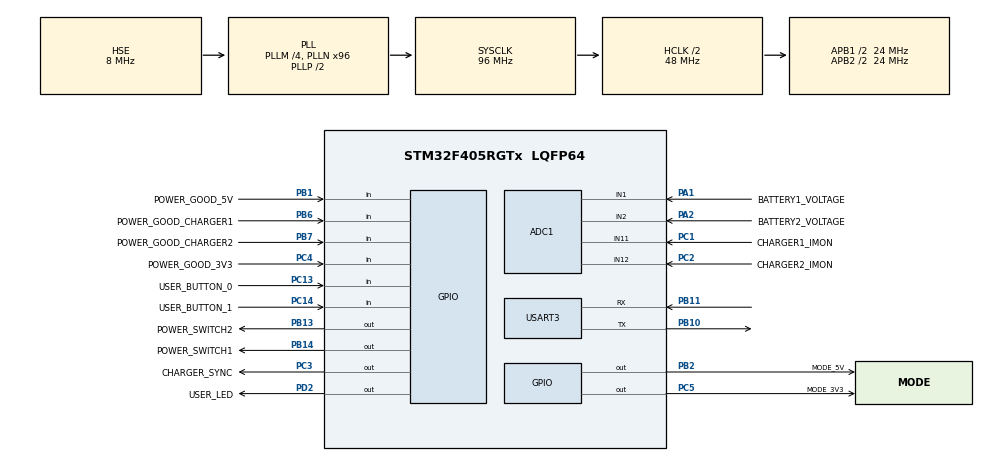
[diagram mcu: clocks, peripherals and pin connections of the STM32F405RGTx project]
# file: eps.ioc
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ADC1.Channel-0\#ChannelRegularConversion=ADC_CHANNEL_1
ADC1.Channel-1\#ChannelRegularConversion=ADC_CHANNEL_2
ADC1.Channel-2\#ChannelRegularConversion=ADC_CHANNEL_11
ADC1.Channel-3\#ChannelRegularConversion=ADC_CHANNEL_12
ADC1.ContinuousConvMode=ENABLE
ADC1.DMAContinuousRequests=ENABLE
ADC1.NbrOfConversion=4
ADC1.NbrOfConversionFlag=1
ADC1.Rank-0\#ChannelRegularConversion=1
ADC1.Rank-1\#ChannelRegularConversion=2
ADC1.Rank-2\#ChannelRegularConversion=3
ADC1.Rank-3\#ChannelRegularConversion=4
ADC1.SamplingTime-0\#ChannelRegularConversion=ADC_SAMPLETIME_480CYCLES
ADC1.SamplingTime-1\#ChannelRegularConversion=ADC_SAMPLETIME_480CYCLES
ADC1.SamplingTime-2\#ChannelRegularConversion=ADC_SAMPLETIME_480CYCLES
ADC1.SamplingTime-3\#ChannelRegularConversion=ADC_SAMPLETIME_480CYCLES
ADC1.ScanConvMode=ENABLE
ADC1.master=1
Dma.ADC1.0.Direction=DMA_PERIPH_TO_MEMORY
Dma.ADC1.0.FIFOMode=DMA_FIFOMODE_DISABLE
Dma.ADC1.0.Instance=DMA2_Stream0
Dma.ADC1.0.MemDataAlignment=DMA_MDATAALIGN_HALFWORD
Dma.ADC1.0.MemInc=DMA_MINC_ENABLE
Dma.ADC1.0.Mode=DMA_CIRCULAR
Dma.ADC1.0.PeriphDataAlignment=DMA_PDATAALIGN_HALFWORD
Dma.ADC1.0.PeriphInc=DMA_PINC_DISABLE
Dma.ADC1.0.Priority=DMA_PRIORITY_LOW
Dma.Request0=ADC1
Mcu.Family=STM32F4
Mcu.Name=STM32F405RGTx
Mcu.Package=LQFP64
NVIC.DMA2_Stream0_IRQn=true\:0\:0\:false\:false\:true\:false\:true\:true
NVIC.PriorityGroup=NVIC_PRIORITYGROUP_4
PA1.GPIO_Label=BATTERY1_VOLTAGE
PA1.Signal=ADCx_IN1
PA13.Mode=Serial_Wire
PA13.Signal=SYS_JTMS-SWDIO
PA14.Mode=Serial_Wire
PA14.Signal=SYS_JTCK-SWCLK
PA2.GPIO_Label=BATTERY2_VOLTAGE
PA2.Signal=ADCx_IN2
PB1.GPIO_Label=POWER_GOOD_5V
PB1.GPIO_PuPd=GPIO_PULLUP
PB1.Signal=GPIO_Input
PB10.Mode=Asynchronous
PB10.Signal=USART3_TX
PB11.Mode=Asynchronous
PB11.Signal=USART3_RX
PB13.GPIO_Label=POWER_SWITCH2
PB13.Signal=GPIO_Output
PB14.GPIO_Label=POWER_SWITCH1
PB14.Signal=GPIO_Output
PB2.GPIO_Label=MODE_5V
PB2.Signal=GPIO_Output
PB6.GPIO_Label=POWER_GOOD_CHARGER1
PB6.GPIO_PuPd=GPIO_PULLUP
PB6.Signal=GPIO_Input
PB7.GPIO_Label=POWER_GOOD_CHARGER2
PB7.GPIO_PuPd=GPIO_PULLUP
PB7.Signal=GPIO_Input
PC1.GPIO_Label=CHARGER1_IMON
PC1.Signal=ADCx_IN11
PC13-ANTI_TAMP.GPIO_Label=USER_BUTTON_0
PC13-ANTI_TAMP.Signal=GPIO_Input
PC14-OSC32_IN.GPIO_Label=USER_BUTTON_1
PC14-OSC32_IN.Signal=GPIO_Input
PC2.GPIO_Label=CHARGER2_IMON
PC2.Signal=ADCx_IN12
PC3.GPIO_Label=CHARGER_SYNC
PC3.Signal=GPIO_Output
PC4.GPIO_Label=POWER_GOOD_3V3
PC4.GPIO_PuPd=GPIO_PULLUP
PC4.Signal=GPIO_Input
PC5.GPIO_Label=MODE_3V3
PC5.Signal=GPIO_Output
PD2.GPIO_Label=USER_LED
PD2.Signal=GPIO_Output
PH0-OSC_IN.Mode=HSE-External-Oscillator
PH0-OSC_IN.Signal=RCC_OSC_IN
PH1-OSC_OUT.Mode=HSE-External-Oscillator
PH1-OSC_OUT.Signal=RCC_OSC_OUT
ProjectManager.HeapSize=0x200
ProjectManager.StackSize=0x400
ProjectManager.TargetToolchain=STM32CubeIDE
RCC.48MHZClocksFreq_Value=48000000
RCC.AHBCLKDivider=RCC_SYSCLK_DIV2
RCC.AHBFreq_Value=48000000
RCC.APB1CLKDivider=RCC_HCLK_DIV2
RCC.APB1Freq_Value=24000000
RCC.APB1TimFreq_Value=48000000
RCC.APB2CLKDivider=RCC_HCLK_DIV2
RCC.APB2Freq_Value=24000000
RCC.APB2TimFreq_Value=48000000
RCC.CortexFreq_Value=48000000
RCC.HCLKFreq_Value=48000000
RCC.HSE_VALUE=8000000
RCC.HSI_VALUE=16000000
RCC.LSE_VALUE=32768
RCC.PLLM=4
RCC.PLLN=96
RCC.PLLSourceVirtual=RCC_PLLSOURCE_HSE
RCC.SYSCLKFreq_VALUE=96000000
RCC.SYSCLKSource=RCC_SYSCLKSOURCE_PLLCLK
RCC.VCOOutputFreq_Value=192000000
SH.ADCx_IN1.0=ADC1_IN1,IN1
SH.ADCx_IN11.0=ADC1_IN11,IN11
SH.ADCx_IN12.0=ADC1_IN12,IN12
SH.ADCx_IN2.0=ADC1_IN2,IN2
USART3.VirtualMode=VM_ASYNC
board=custom

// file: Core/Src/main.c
/* USER CODE BEGIN Header */
/**
  ******************************************************************************
  * @file           : main.c
  * @brief          : Main program body
  ******************************************************************************
  * @attention
  *
  * <h2><center>&copy; Copyright (c) 2024 STMicroelectronics.
  * All rights reserved.</center></h2>
  *
  * This software component is licensed by ST under BSD 3-Clause license,
  * the "License"; You may not use this file except in compliance with the
  * License. You may obtain a copy of the License at:
  *                        opensource.org/licenses/BSD-3-Clause
  *
  ******************************************************************************
  */
/* USER CODE END Header */
#include "main.h"
#include "adc.h"
#include "dma.h"
#include "usart.h"
#include "gpio.h"

/* USER CODE BEGIN Includes */
#include "stdio.h"
#include "eps.h"
#include "led.h"
/* USER CODE END Includes */

/* USER CODE BEGIN PV */
uint16_t adc_raw_values[4];
EPS eps;

/* USER CODE END PV */

void SystemClock_Config(void);

/* USER CODE BEGIN 0 */
/**
 * @brief function for printing using UART
 */
int _write(int file, char* ptr, int len){
	HAL_UART_Transmit(&huart3, (uint8_t *)ptr, len, HAL_MAX_DELAY);
	return len;
}

/* USER CODE END 0 */

int main(void)
{

  /* MCU Configuration--------------------------------------------------------*/

  /* Reset of all peripherals, Initializes the Flash interface and the Systick. */
  HAL_Init();

  /* Configure the system clock */
  SystemClock_Config();

  /* Initialize all configured peripherals */
  MX_GPIO_Init();
  MX_DMA_Init();
  MX_ADC1_Init();
  MX_USART3_UART_Init();
  /* USER CODE BEGIN 2 */
  HAL_ADC_Start_DMA(&hadc1, adc_raw_values, 4);
  setLedPattern(&(eps.led), LED_BLINK_SLOW);  // Example pattern

  eps.powerStatus = 0x00;
  /* USER CODE END 2 */

  /* Infinite loop */
  /* USER CODE BEGIN WHILE */
  HAL_Delay(10000);
  deploySolarPanels();
  HAL_Delay(5000);
  deployAntenna();
  while (1){
	  eps.battery1.adcRawVoltageReading = adc_raw_values[0];
	  eps.battery2.adcRawVoltageReading = adc_raw_values[1];
	  eps.battery1.adcRawCurrentReading = adc_raw_values[2];
	  eps.battery2.adcRawCurrentReading = adc_raw_values[3];

	  calculateBatteryVoltage(&(eps.battery1));
	  calculateBatteryVoltage(&(eps.battery2));
	  calculateBatteryChargingCurrent(&(eps.battery1));
	  calculateBatteryChargingCurrent(&(eps.battery2));

	  eps.powerStatus = checkPowerGoodSignals(&(eps.powerGoodSignals));
	  handlePowerGoodErrors(&eps);

	  if(!HAL_GPIO_ReadPin(USER_BUTTON_0_GPIO_Port, USER_BUTTON_0_Pin)){
		  deploySolarPanels();
		  setLedPattern(&(eps.led), LED_BLINK_FAST);
	  }
	  if(!HAL_GPIO_ReadPin(USER_BUTTON_1_GPIO_Port, USER_BUTTON_1_Pin)){
		  deployAntenna();
		  setLedPattern(&(eps.led), LED_BLINK_BURST);
	  }
	  printf("%d; %d; %d; %d; %d \n\r", eps.battery1.voltage_mV, eps.battery2.voltage_mV, eps.battery1.chargingCurrent_mA, eps.battery2.chargingCurrent_mA, eps.powerStatus);
	  updateLed(&(eps.led));
	  HAL_Delay(10);
    /* USER CODE END WHILE */

  }
}

void SystemClock_Config(void)
{
  RCC_OscInitTypeDef RCC_OscInitStruct = {0};
  RCC_ClkInitTypeDef RCC_ClkInitStruct = {0};

  /** Configure the main internal regulator output voltage
  */
  __HAL_RCC_PWR_CLK_ENABLE();
  __HAL_PWR_VOLTAGESCALING_CONFIG(PWR_REGULATOR_VOLTAGE_SCALE1);
  /** Initializes the RCC Oscillators according to the specified parameters
  * in the RCC_OscInitTypeDef structure.
  */
  RCC_OscInitStruct.OscillatorType = RCC_OSCILLATORTYPE_HSE;
  RCC_OscInitStruct.HSEState = RCC_HSE_ON;
  RCC_OscInitStruct.PLL.PLLState = RCC_PLL_ON;
  RCC_OscInitStruct.PLL.PLLSource = RCC_PLLSOURCE_HSE;
  RCC_OscInitStruct.PLL.PLLM = 4;
  RCC_OscInitStruct.PLL.PLLN = 96;
  RCC_OscInitStruct.PLL.PLLP = RCC_PLLP_DIV2;
  RCC_OscInitStruct.PLL.PLLQ = 4;
  if (HAL_RCC_OscConfig(&RCC_OscInitStruct) != HAL_OK)
  {
    Error_Handler();
  }
  /** Initializes the CPU, AHB and APB buses clocks
  */
  RCC_ClkInitStruct.ClockType = RCC_CLOCKTYPE_HCLK|RCC_CLOCKTYPE_SYSCLK
                              |RCC_CLOCKTYPE_PCLK1|RCC_CLOCKTYPE_PCLK2;
  RCC_ClkInitStruct.SYSCLKSource = RCC_SYSCLKSOURCE_PLLCLK;
  RCC_ClkInitStruct.AHBCLKDivider = RCC_SYSCLK_DIV2;
  RCC_ClkInitStruct.APB1CLKDivider = RCC_HCLK_DIV2;
  RCC_ClkInitStruct.APB2CLKDivider = RCC_HCLK_DIV2;

  if (HAL_RCC_ClockConfig(&RCC_ClkInitStruct, FLASH_LATENCY_1) != HAL_OK)
  {
    Error_Handler();
  }
}

void Error_Handler(void)
{
}

/************************ (C) COPYRIGHT STMicroelectronics *****END OF FILE****/
